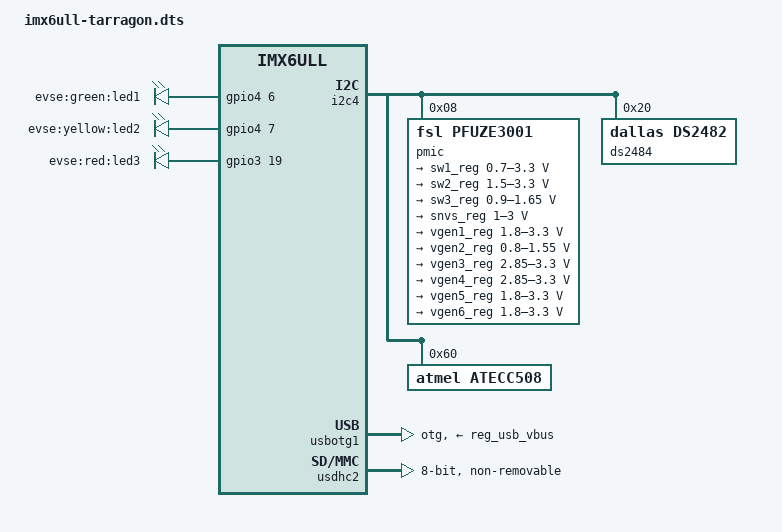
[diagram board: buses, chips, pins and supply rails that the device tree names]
#include "imx6ull-tarragon.dtsi"

/ {
	leds {
		compatible = "gpio-leds";
		pinctrl-names = "default";
		pinctrl-0 = <&pinctrl_debug_leds>;

		led1 {			/* Boot process */
			label = "evse:green:led1";
			gpios = <&gpio4 6 GPIO_ACTIVE_HIGH>;
			linux,default-trigger = "timer";
		};

		led2 {			/* CAN traffic */
			label = "evse:yellow:led2";
			gpios = <&gpio4 7 GPIO_ACTIVE_HIGH>;
			linux,default-trigger = "can0-rx";
		};

		led3 {			/* Heartbeat */
			label = "evse:red:led3";
			gpios = <&gpio3 19 GPIO_ACTIVE_HIGH>;
			linux,default-trigger = "heartbeat";
		};
	};
};

&i2c4 {
	pmic: pfuze3001@08 {
		compatible = "fsl,pfuze3001";
		reg = <0x08>;

		regulators {
			sw1_reg: sw1 {
				regulator-min-microvolt = <700000>;
				regulator-max-microvolt = <3300000>;
				regulator-boot-on;
				regulator-always-on;
			};

			sw2_reg: sw2 {
				regulator-min-microvolt = <1500000>;
				regulator-max-microvolt = <3300000>;
				regulator-boot-on;
				regulator-always-on;
			};

			sw3_reg: sw3 {
				regulator-min-microvolt = <900000>;
				regulator-max-microvolt = <1650000>;
				regulator-boot-on;
				regulator-always-on;
			};

			snvs_reg: vsnvs {
				regulator-min-microvolt = <1000000>;
				regulator-max-microvolt = <3000000>;
				regulator-boot-on;
				regulator-always-on;
			};

			vgen1_reg: vldo1 {
				regulator-min-microvolt = <1800000>;
				regulator-max-microvolt = <3300000>;
				regulator-always-on;
			};

			vgen2_reg: vldo2 {
				regulator-min-microvolt = <800000>;
				regulator-max-microvolt = <1550000>;
				regulator-always-on;
			};

			vgen3_reg: vccsd {
				regulator-min-microvolt = <2850000>;
				regulator-max-microvolt = <3300000>;
				regulator-always-on;
			};

			vgen4_reg: v33 {
				regulator-min-microvolt = <2850000>;
				regulator-max-microvolt = <3300000>;
				regulator-always-on;
			};

			vgen5_reg: vldo3 {
				regulator-min-microvolt = <1800000>;
				regulator-max-microvolt = <3300000>;
				regulator-always-on;
			};

			vgen6_reg: vldo4 {
				regulator-min-microvolt = <1800000>;
				regulator-max-microvolt = <3300000>;
				regulator-always-on;
			};
		};
	};

	ds2484@20 {
		compatible = "dallas,ds2482"; // FIXME
		reg = <0x20>;
	};

	atecc508@60 {
		compatible = "atmel,atecc508"; // FIXME
		reg = <0x60>;
	};
};

&usbotg1 {
	dr_mode = "otg";
	vbus-supply = <&reg_usb_vbus>;
	status = "okay";
};

&usdhc2 {
	pinctrl-names = "default", "state_100mhz", "state_200mhz";
	pinctrl-0 = <&pinctrl_usdhc2_8bit>;
	pinctrl-1 = <&pinctrl_usdhc2_8bit_100MHz>;
	pinctrl-2 = <&pinctrl_usdhc2_8bit_200MHz>;
	bus-width = <8>;
	// mmc-ddr-1_8v;
	// mmc-hs200-1_8v;
	broken-cd;
	non-removable;
	// vmmc-supply = <&sw2_reg>;
	// vqmmc-supply = <&vgen6_reg>;
	// mmc-pwrseq = <&emmc_pwrseq>;
	status = "okay";
};
